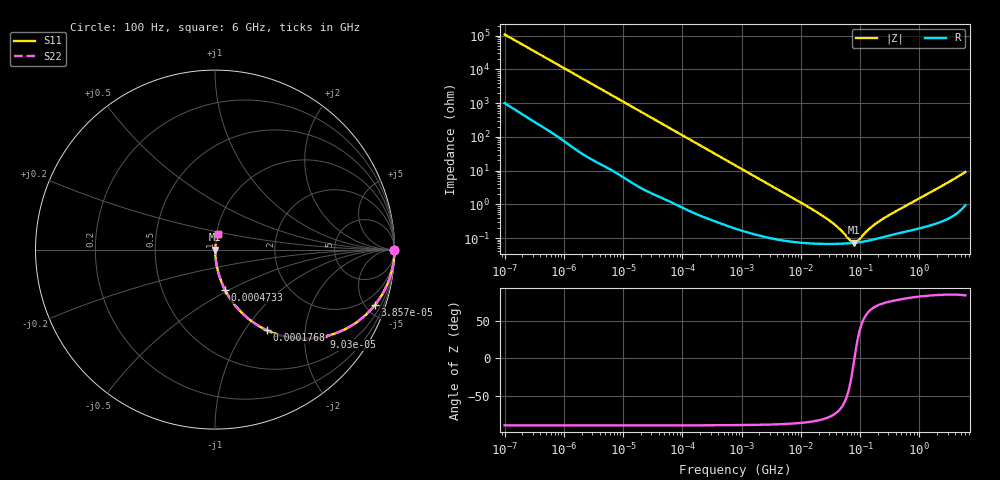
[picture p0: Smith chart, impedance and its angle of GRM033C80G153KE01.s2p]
!Murata Part Number: GRM033C80G153KE01
!These Parameters are Measured in Series Mode Connection
!Data Generated on Mar 30, 2021
!  o--ll--o
!Port1  Port2
!  o------o
!Operation Temp=25[degC], DC Bias Voltage=0[V]
!Freq. Start=100[Hz] Stop=6[GHz] 401[Steps]
# Hz S RI R 50
!Freq.(Hz) S11(Real) S11(Imag) S21(Real) S21(Imag) S12(Real) S12(Imag) S22(Real) S22(Imag)
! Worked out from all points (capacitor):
!   401 points, 100 Hz to 6 GHz, reference 50 ohm
!   read as one part in series: C = 14.6 nF near 109 Hz
!   lowest |Z| = 72.4 mohm at 77.97 MHz (marker M1)
!   series resonance near 80.47 MHz, so ESL is about 270 pH
!   S11 on the Smith chart (normalised r, x): 100 Hz: open; 38.57 kHz: 1.03, -5.77; 90.3 kHz: 1.02, -2.47; 176.8 kHz: 1.01, -1.27; 473.3 kHz: 1.01, -0.48; 6 GHz: 1.02, +0.18
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100  1 -0.000921  9.3e-06 0.000921  9.3e-06 0.000921  1 -0.000921
2008  0.9996 -0.0182  0.000438 0.0182  0.000438 0.0182  0.9996 -0.0182
11514  0.9888 -0.1026  0.0112 0.1026  0.0112 0.1026  0.9888 -0.1026
38569  0.8913 -0.3082  0.1087 0.3082  0.1087 0.3082  0.8913 -0.3082
40335  0.8824 -0.3191  0.1176 0.3191  0.1176 0.3191  0.8824 -0.3191
60352  0.7719 -0.4163  0.2281 0.4163  0.2281 0.4163  0.7719 -0.4163
90302  0.604 -0.4856  0.396 0.4856  0.396 0.4856  0.604 -0.4856
176758  0.2879 -0.4488  0.7121 0.4488  0.7121 0.4488  0.2879 -0.4488
276587  0.1436 -0.3461  0.8564 0.3461  0.8564 0.3461  0.1436 -0.3461
473344  0.0557 -0.2239  0.9443 0.2239  0.9443 0.2239  0.0557 -0.2239
774597  0.0226 -0.1421  0.9774 0.1421  0.9774 0.1421  0.0226 -0.1421
2481164  0.00316 -0.0456  0.9968 0.0456  0.9968 0.0456  0.00316 -0.0456
1.555665e7  0.000738 -0.00709  0.9993 0.00709  0.9993 0.00709  0.000738 -0.00709
3.482834e7  0.000678 -0.00267  0.9993 0.00267  0.9993 0.00267  0.000678 -0.00267
4.764863e7  0.000682 -0.00156  0.9993 0.00156  0.9993 0.00156  0.000682 -0.00156
6.817316e7  0.000704 -0.000471  0.9993 0.000471  0.9993 0.000471  0.000704 -0.000471
7.797396e7  0.000718 -8.83e-05  0.9993 8.83e-05  0.9993 8.83e-05  0.000718 -8.83e-05
8.918374e7  0.000737 0.00029  0.9993 -0.00029  0.9993 -0.00029  0.000737 0.00029
1.745687e8  0.000922 0.00232  0.9991 -0.00232  0.9991 -0.00232  0.000922 0.00232
3.124326e8  0.00121 0.00469  0.9988 -0.00469  0.9988 -0.00469  0.00121 0.00469
1.95892e9  0.00351 0.0283  0.9965 -0.0283  0.9965 -0.0283  0.00351 0.0283
6e9  0.0173 0.0885  0.9827 -0.0885  0.9827 -0.0885  0.0173 0.0885
